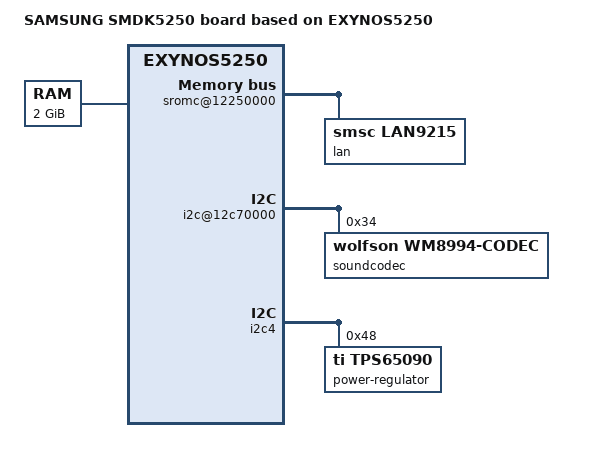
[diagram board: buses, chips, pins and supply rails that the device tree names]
/*
 * SAMSUNG SMDK5250 board device tree source
 *
 * Copyright (c) 2012 Samsung Electronics Co., Ltd.
 *		http://www.samsung.com
 *
 * This program is free software; you can redistribute it and/or modify
 * it under the terms of the GNU General Public License version 2 as
 * published by the Free Software Foundation.
*/

/dts-v1/;
/include/ "exynos5250.dtsi"
/include/ "flashmap-exynos-ro.dtsi"
/include/ "flashmap-4mb-rw.dtsi"
/include/ "chromeos-exynos.dtsi"
/include/ "cros5250-common.dtsi"

/ {
	model = "SAMSUNG SMDK5250 board based on EXYNOS5250";
	compatible = "samsung,smdk5250", "samsung,exynos5250";

	aliases {
		serial0 = "/serial@12C30000";
		sdmmc0 = "/mshci@12200000";
		sdmmc1 = "/mshci@12220000";
		spi0 = "/spi@12d20000";
		spi1 = "/spi@12d30000";
		spi2 = "/spi@12d40000";
		spi3 = "/spi@131a0000";
		spi4 = "/spi@131b0000";
	};

	serial@12C30000 {
		id = <3>;
	};

	config {
		machine-arch-id = <3774>;
	};

	memory {
		reg = <0x40000000 0x80000000>;
	};

	sdhci@12220000 {
		samsung,sdhci-bus-width = <4>;
	};

	sdhci@12200000 {
		status = "disabled";
	};

	sdhci@12210000 {
		status = "disabled";
	};

	sdhci@12230000 {
		status = "disabled";
	};

	mshci@12200000 {
		samsung,mshci-bus-width = <8>;
		enable-gpios = <&gpio 58 0>;
	};

	mshci@12220000 {
		samsung,mshci-bus-width = <4>;
	};
	sromc@12250000 {
		bank = <1>;
		srom-timing = <1 9 12 1 6 1 1>;
		width = <2>;
		lan@5000000 {
			compatible = "smsc,lan9215", "smsc,lan";
			reg = <0x5000000 0x100>;
			phy-mode = "mii";
		};
	};

	dmc@10C00000 {
		mem-interleave-size = <0x1f>;
		mem-type = "ddr3";
		mem-manuf = "samsung";
		clock-frequency = <800000000>;
	};

	dp@145b0000 {
		samsung,interface = "mipi";
	};

	sound@12d60000 {
		samsung,codec-type = "wm8994";
	};

	i2c@12c70000 {
		soundcodec@34 {
			reg = <0x34>;
			compatible = "wolfson,wm8994-codec";
		};
	};

	i2c4: i2c@12ca0000 {
		power-regulator@48 {
			compatible = "ti,tps65090";
			reg = <0x48>;
		};
	};
};
